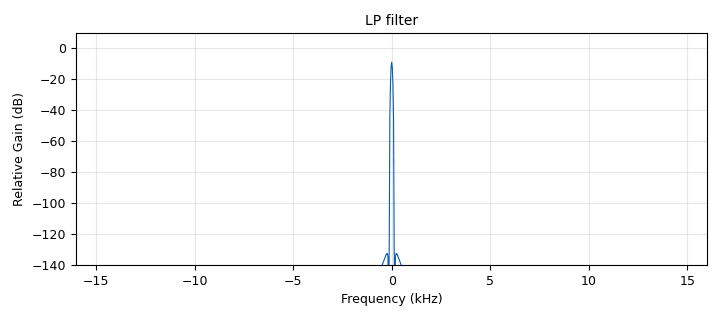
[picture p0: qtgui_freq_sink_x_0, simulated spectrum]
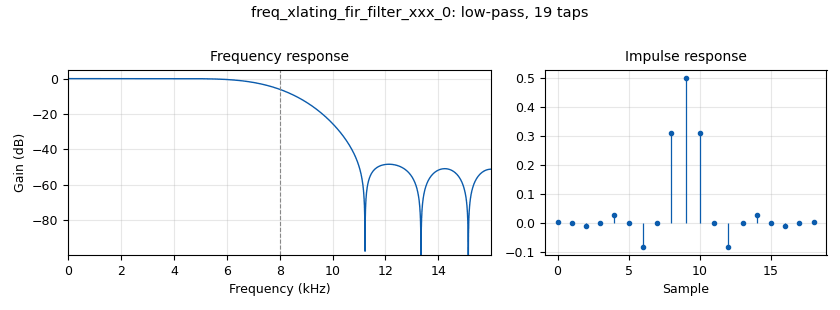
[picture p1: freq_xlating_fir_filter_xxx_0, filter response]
options:
  parameters:
    author: yabool2001
    copyright: maciej.zemlo@gmail.com
    description: https://wiki.gnuradio.org/index.php?title=Designing_Filter_Taps
    generate_options: qt_gui
    id: tuto_grwiki_designfiltertaps
    output_language: python
    title: Design filter taps
  states: {}

blocks:
- name: N
  id: variable
  parameters:
    value: '1024'
  states: {}
- name: f
  id: variable_qtgui_range
  parameters:
    label: frequency
    start: '-samp_rate/2'
    step: '1'
    stop: samp_rate/2
    value: '0'
  states: {}
- name: lowpasstaps
  id: variable_low_pass_filter_taps
  parameters:
    cutoff_freq: samp_rate/4
    gain: '1.0'
    samp_rate: samp_rate
    width: samp_rate/8
    win: window.WIN_HAMMING
  states: {}
- name: samp_rate
  id: variable
  parameters:
    value: '32000'
  states: {}
- name: analog_sig_source_x_0
  id: analog_sig_source_x
  parameters:
    amp: '1'
    freq: f
    offset: '0'
    phase: '0'
    samp_rate: samp_rate
    type: complex
    waveform: analog.GR_COS_WAVE
  states: {}
- name: blocks_throttle2_0
  id: blocks_throttle2
  parameters:
    samples_per_second: samp_rate
    type: complex
  states: {}
- name: freq_xlating_fir_filter_xxx_0
  id: freq_xlating_fir_filter_xxx
  parameters:
    center_freq: '0'
    decim: '1'
    samp_rate: samp_rate
    taps: lowpasstaps
    type: ccc
  states: {}
- name: qtgui_freq_sink_x_0
  id: qtgui_freq_sink_x
  parameters:
    bw: samp_rate
    fc: '0'
    fftsize: N
    name: '"LP filter"'
    type: complex
  states: {}

connections:
- [analog_sig_source_x_0, '0', freq_xlating_fir_filter_xxx_0, '0']
- [blocks_throttle2_0, '0', qtgui_freq_sink_x_0, '0']
- [freq_xlating_fir_filter_xxx_0, '0', blocks_throttle2_0, '0']

metadata:
  file_format: 1
  grc_version: 3.10.10.0
